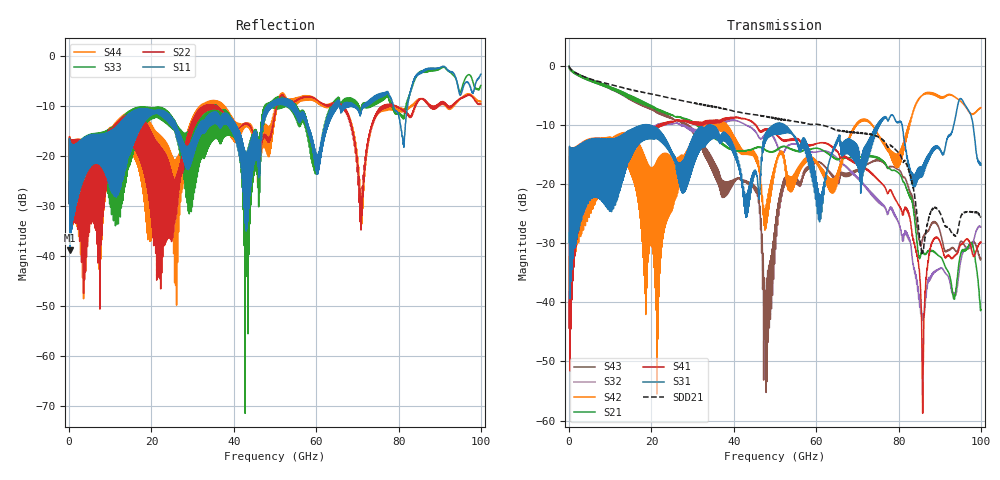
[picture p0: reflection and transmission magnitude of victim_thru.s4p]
# Hz S RI R 50
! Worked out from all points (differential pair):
!   10000 points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, 10 MHz to 100 GHz, reference 50 ohm
!   strongest paths, dB at 10 MHz, 25.01 GHz, 50.01 GHz, 75.01 GHz, 100 GHz:
!     S31: -29.9, -14.7, -10.1, -10.2, -16.8
!     S41: -44.4, -9.5, -11.5, -19.4, -29.8
!     S21: -0.1, -8.4, -14.4, -15.7, -41.2
!     S42: -29.9, -15.8, -16.8, -11.6, -7.2
!     S32: -44.4, -9.9, -12.8, -22.9, -27.3
!     S43: -0.1, -9.0, -26.9, -16.0, -32.6
!   taken as a pair (ports 1,3 in; 2,4 out), SDD21 dB: -0.1, -5.6, -8.8, -12.1, -25.5
!   lowest |S11| = -38.9 dB at 230 MHz (marker M1), VSWR 1.02, Z = 51.1 + j0.306 ohm
!   |S11| at or under -10 dB: start of sweep to 48.25 GHz; 54.9 GHz to 64.18 GHz (9.275 GHz wide, 15.6 % of centre); 78.7 GHz to 82.22 GHz (3.52 GHz wide, 4.37 % of centre)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
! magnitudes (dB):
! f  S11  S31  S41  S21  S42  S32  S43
! 10 MHz  -29.5  -29.9  -44.4  -0.1  -29.9  -44.4  -0.1
! 230 MHz  -38.9  -39.4  -43.2  -0.5  -38.8  -43.3  -0.5
! 26.29 GHz  -16.4  -18.4  -9.2  -8.6  -18.5  -9.7  -9.3
! 47.69 GHz  -12.2  -12.1  -10.7  -14.3  -24.4  -11.5  -38.2
! 60.2 GHz  -22.2  -19.8  -13.2  -14.0  -16.5  -14.6  -16.3
! 85.88 GHz  -3.1  -17.8  -57.9  -31.4  -5.0  -43.0  -29.4
! 100 GHz  -3.7  -16.8  -29.8  -41.2  -7.2  -27.3  -32.6
